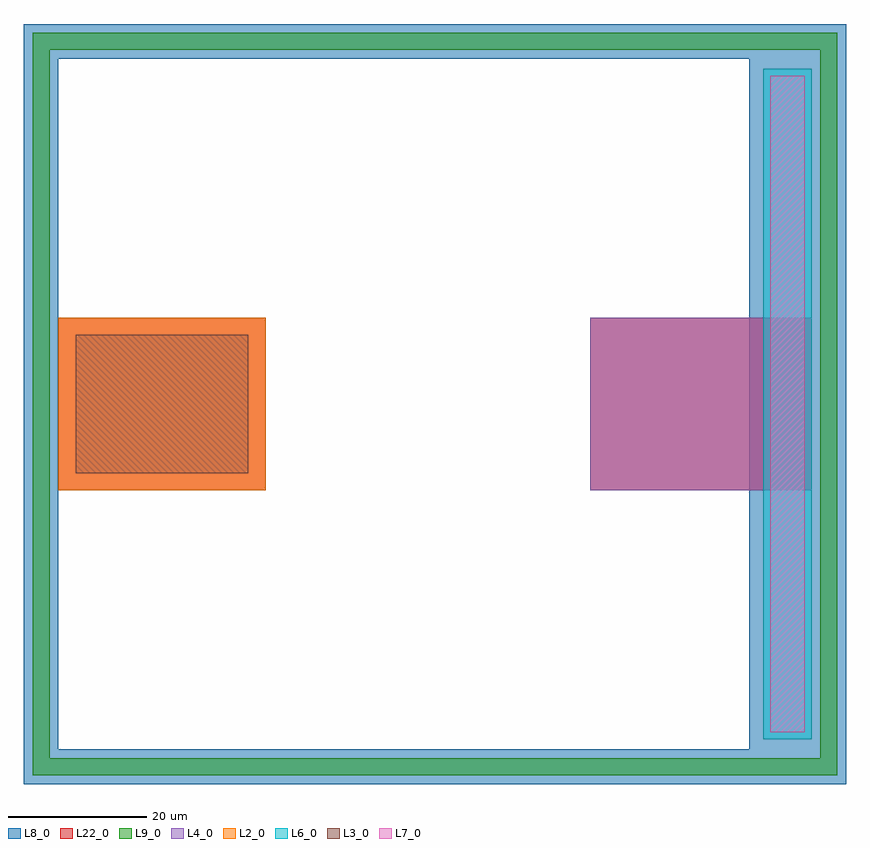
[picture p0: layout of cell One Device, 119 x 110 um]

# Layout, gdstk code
import gdstk
lib = gdstk.Library(unit=1e-6, precision=1e-09)
def R(c, l, rs):  # rectangles x0, y0, x1, y1
    for r in rs: c.add(gdstk.rectangle(r[:2], r[2:], *l))
def P(c, l, *ps):  # polygons
    for p in ps: c.add(gdstk.Polygon(p, *l))
L2_0 = (2, 0)
L3_0 = (3, 0)
L4_0 = (4, 0)
L6_0 = (6, 0)
L7_0 = (7, 0)
L8_0 = (8, 0)
L9_0 = (9, 0)
L22_0 = (22, 0)

frame_tile = lib.new_cell('Frame Tile')
P(frame_tile, L8_0, [(-50,-50),(-52,-52),(-52,52),(52,52),(52,-52),(-52,-52),(-50,-50),(50,-50),(50,50),(-50,50)])

frame_tile_13 = lib.new_cell('Frame Tile_13')
P(frame_tile_13, L8_0, [(-54.5,-50),(-59.5,-55),(-59.5,55),(59.5,55),(59.5,-55),(-59.5,-55),(-54.5,-50),(54.5,-50),(54.5,50),(-54.5,50)])

frame_tile_14 = lib.new_cell('Frame Tile_14')
P(frame_tile_14, L9_0, [(-55.75,-51.25),(-58.25,-53.75),(-58.25,53.75),(58.25,53.75),(58.25,-53.75),(-58.25,-53.75),(-55.75,-51.25),(55.75,-51.25),(55.75,51.25),(-55.75,51.25)])

one_device = lib.new_cell('One Device')
R(one_device, L2_0, [(-50,-12.5,-20,12.5)])
R(one_device, L3_0, [(-47.5,-10,-22.5,10)])
R(one_device, L4_0, [(27,-12.5,59,12.5)])
R(one_device, L6_0, [(52,-48.5,59,48.5)])
R(one_device, L7_0, [(53,-47.5,58,47.5)])
R(one_device, L8_0, [(52,-50,59,50)])
R(one_device, L22_0, [(-50,-12.5,-20,12.5), (27,-12.5,59,12.5)])
one_device.add(gdstk.Reference(frame_tile, (0,0)))
one_device.add(gdstk.Reference(frame_tile_13, (4.5,0)))
one_device.add(gdstk.Reference(frame_tile_14, (4.5,0)))

lib.write_gds('One_Device.gds')
